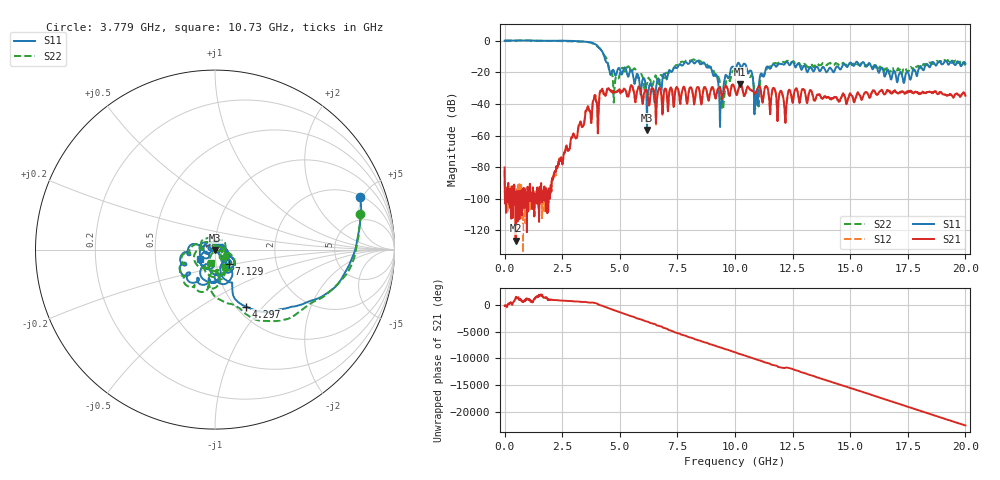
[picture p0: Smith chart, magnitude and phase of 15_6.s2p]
#  HZ  S  RI  R  50.00
! Rohde & Schwarz Vector Network Analyzer
! Rohde-Schwarz,ZNB20-2Port,1311601062102128,3.60
! Created: UTC 4/29/2024, 2:57:59 PM
! freq[Hz]  re:S11  im:S11  re:S21  im:S21  re:S12  im:S12  re:S22  im:S22
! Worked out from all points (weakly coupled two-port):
!   2007 points, 100 kHz to 20 GHz, reference 50 ohm
!   highest |S21| = -27.65 dB at 10.23 GHz (marker M1); lowest = -126.4 dB at 478.7 MHz (marker M2)
!   lowest |S11| = -56.5 dB at 6.182 GHz (marker M3), VSWR 1.00, Z = 50 - j0.146 ohm
!   |S11| at or under -10 dB: 4.326 GHz to end of sweep
!   |S22| runs from -43.2 to 0.1 dB; largest |S21 - S12| = 0.002
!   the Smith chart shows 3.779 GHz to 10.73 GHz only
!   S11 on the Smith chart (normalised r, x): 3.779 GHz: 2.08, +4.77; 4.297 GHz: 1.11, -0.81; 7.129 GHz: 1.15, -0.19; 10.73 GHz: 0.84, -0.09
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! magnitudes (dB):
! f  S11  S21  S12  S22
! 100 kHz  0.0  -80.2  -82.0  0.1
! 478.7 MHz  0.0  -126.4  -98.2  0.0
! 2.223 GHz  -0.1  -82.1  -81.2  -0.3
! 3.34 GHz  -0.6  -53.8  -53.6  -0.6
! 3.779 GHz  -1.3  -49.7  -50.1  -1.6
! 4.297 GHz  -8.8  -33.6  -33.7  -9.0
! 4.776 GHz  -20.7  -32.3  -32.3  -28.7
! 5.354 GHz  -22.8  -35.3  -35.2  -16.3
! 6.182 GHz  -56.5  -32.2  -32.1  -27.3
! 6.67 GHz  -23.9  -31.3  -31.4  -27.2
! 7.129 GHz  -19.0  -35.7  -35.7  -20.5
! 8.644 GHz  -13.9  -30.2  -30.1  -14.3
! 9.183 GHz  -21.4  -35.7  -35.6  -22.5
! 9.392 GHz  -40.1  -32.7  -32.8  -34.1
! 10 GHz  -18.7  -31.3  -31.3  -19.3
! 10.23 GHz  -15.9  -27.7  -27.6  -16.8
! 10.73 GHz  -20.1  -31.4  -31.4  -22.3
! 10.92 GHz  -33.5  -32.4  -32.4  -34.2
! 11.42 GHz  -16.4  -30.2  -30.2  -16.8
! 13.34 GHz  -18.0  -32.8  -32.8  -15.3
! 16.67 GHz  -19.1  -31.7  -31.8  -20.5
! 20 GHz  -14.6  -34.8  -34.9  -14.4
